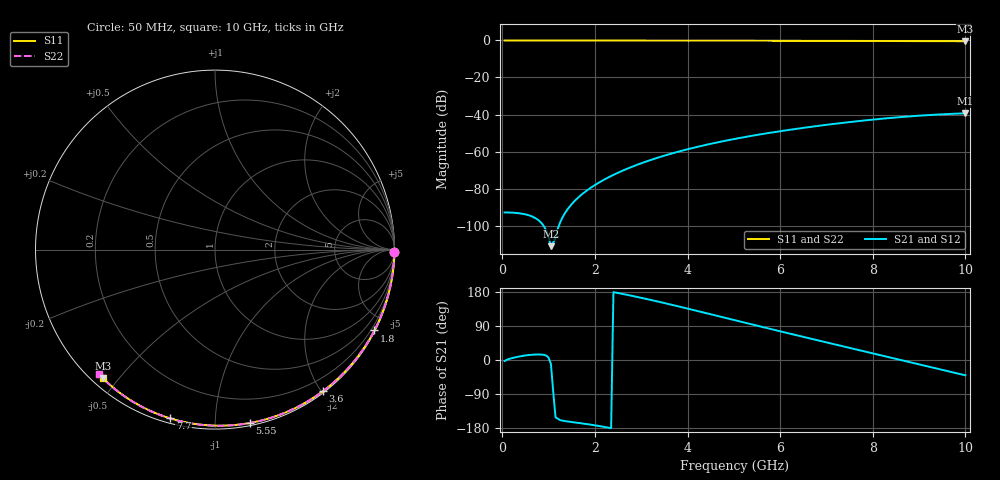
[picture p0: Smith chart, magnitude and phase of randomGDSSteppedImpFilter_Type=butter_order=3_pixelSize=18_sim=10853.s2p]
! freq	dB(S11)	phase(S11)	dB(S12)	phase(S12)
!  dB(S21)	phase(S21)	dB(S22)	phase(S22)
!S-par simulation data
#  GHz  S  DB  R 50
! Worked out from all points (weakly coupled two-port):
!   200 points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, 50 MHz to 10 GHz, reference 50 ohm
!   highest |S21| = -39.35 dB at 10 GHz (marker M1); lowest = -111.1 dB at 1.05 GHz (marker M2)
!   lowest |S11| = -0.4 dB at 10 GHz (marker M3), VSWR 39.32, Z = 1.53 - j22.7 ohm
!   |S11| at or under -10 dB: nowhere
!   |S22| runs from -0.5 to 0.0 dB; largest |S21 - S12| = 0
!   S11 on the Smith chart (normalised r, x): 50 MHz: open; 1.8 GHz: 0.04, -4.18; 3.6 GHz: 0.02, -2.02; 5.55 GHz: 0.02, -1.22; 7.7 GHz: 0.02, -0.77; 10 GHz: 0.03, -0.45
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0.05  -0.00 -0.7  -92.87 -2.8  -92.87 -2.8  -0.01 -0.8
0.55  -0.01 -8.3  -94.23 12.8  -94.23 12.8  -0.01 -8.4
1.05  -0.02 -15.8  -111.09 -10.7  -111.09 -10.7  -0.02 -16.0
1.75  -0.03 -26.2  -82.48 -167.7  -82.48 -167.7  -0.03 -26.4
1.8  -0.03 -26.9  -81.51 -168.6  -81.51 -168.6  -0.03 -27.2
1.85  -0.04 -27.6  -80.59 -169.5  -80.59 -169.5  -0.04 -27.9
1.9  -0.04 -28.4  -79.72 -170.4  -79.72 -170.4  -0.04 -28.7
2.05  -0.04 -30.6  -77.30 -173.4  -77.30 -173.4  -0.04 -30.9
2.25  -0.04 -33.5  -74.48 -177.6  -74.48 -177.6  -0.04 -33.8
2.65  -0.05 -39.2  -69.76 173.1  -69.76 173.1  -0.05 -39.6
3  -0.06 -44.2  -66.33 164.1  -66.33 164.1  -0.06 -44.7
3.4  -0.07 -49.8  -62.97 153.1  -62.97 153.1  -0.07 -50.3
3.6  -0.07 -52.6  -61.46 147.4  -61.46 147.4  -0.07 -53.1
4.3  -0.09 -62.2  -56.94 126.8  -56.94 126.8  -0.09 -62.8
5.05  -0.11 -72.1  -53.02 104.1  -53.02 104.1  -0.11 -72.8
5.55  -0.13 -78.6  -50.80 89.1  -50.80 89.1  -0.13 -79.4
6.1  -0.15 -85.5  -48.63 72.8  -48.63 72.8  -0.15 -86.4
6.7  -0.18 -92.9  -46.52 55.2  -46.52 55.2  -0.18 -93.9
7.7  -0.24 -104.9  -43.52 26.1  -43.52 26.1  -0.24 -106.1
8.35  -0.29 -112.5  -41.92 7.1  -41.92 7.1  -0.29 -113.8
9.2  -0.36 -122.2  -40.30 -17.7  -40.30 -17.7  -0.37 -123.7
10  -0.44 -131.2  -39.35 -40.4  -39.35 -40.4  -0.45 -132.9
